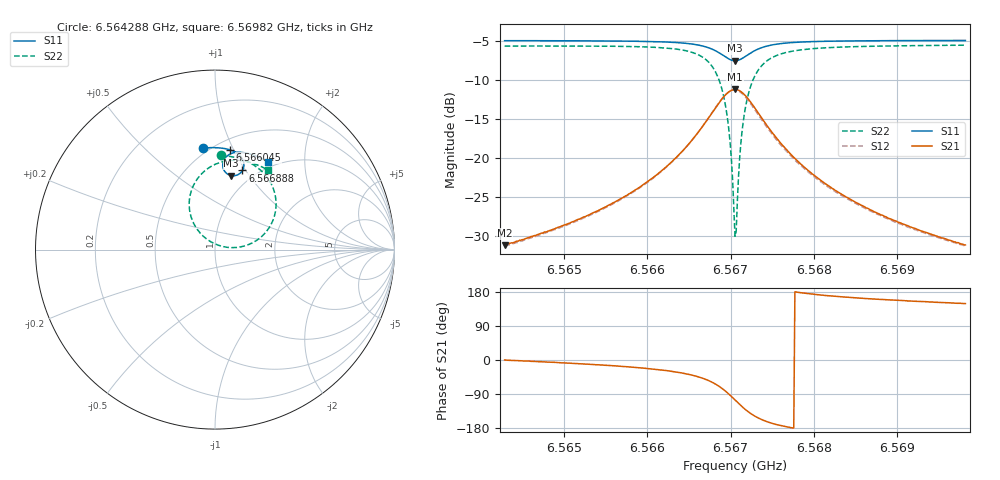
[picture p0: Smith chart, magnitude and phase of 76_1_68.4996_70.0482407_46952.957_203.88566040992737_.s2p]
#  HZ  S  RI  R  50.00
! Rohde & Schwarz Vector Network Analyzer
! Rohde-Schwarz,ZNB20-2Port,1311601062101988,3.16
! Created: UTC 3/20/2024, 5:07:06 PM
! freq[Hz]  re:S11  im:S11  re:S21  im:S21  re:S12  im:S12  re:S22  im:S22
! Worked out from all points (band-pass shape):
!   401 points, 6.564288 GHz to 6.56982 GHz, reference 50 ohm
!   highest |S21| = -11.18 dB at 6.567054 GHz (marker M1); lowest = -31.3 dB at 6.564288 GHz (marker M2)
!   |S21| within 3 dB of the highest: 6.566779 GHz to 6.567331 GHz (551.7 kHz wide, 0.0084 % of centre)
!   lowest |S11| = -7.5 dB at 6.567054 GHz (marker M3), VSWR 2.46, Z = 41.1 + j41.3 ohm
!   |S11| at or under -10 dB: nowhere
!   |S22| runs from -30.1 to -5.5 dB; largest |S21 - S12| = 0.013
!   S11 on the Smith chart (normalised r, x): 6.564288 GHz: 0.46, +0.77; 6.566045 GHz: 0.60, +0.97; 6.566888 GHz: 0.86, +0.97; 6.56982 GHz: 0.92, +1.33
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6.5642884e9  -0.0682 0.5649  0.0274 4.92e-05  0.027 -0.000478  0.0313 0.5245
6.5652149e9  0.00759 0.5679  0.0404 -0.00712  0.0397 -0.00775  0.1181 0.5119
6.5660446e9  0.084 0.5556  0.0669 -0.0288  0.0659 -0.0296  0.2233 0.4665
6.5661413e9  0.0941 0.5521  0.0723 -0.0345  0.0711 -0.0353  0.2393 0.4548
6.5664456e9  0.1287 0.5332  0.0929 -0.0663  0.0914 -0.0676  0.2981 0.3923
6.5666668e9  0.1541 0.5025  0.1067 -0.1194  0.1043 -0.1217  0.3378 0.2896
6.5667913e9  0.1611 0.4719  0.0998 -0.1731  0.0954 -0.1762  0.3311 0.1874
6.5668881e9  0.1526 0.4408  0.0678 -0.2262  0.0605 -0.2291  0.2747 0.0878
6.566971e9  0.1279 0.4175  0.00848 -0.2639  -0.00222 -0.264  0.1662 0.0208
6.5669987e9  0.1159 0.4131  -0.0176 -0.2697  -0.0289 -0.2683  0.1189 0.0118
6.5670402e9  0.0962 0.4116  -0.0595 -0.269  -0.0711 -0.2644  0.0441 0.017
6.567054e9  0.0896 0.4126  -0.0735 -0.266  -0.0847 -0.2603  0.02 0.024
6.5670678e9  0.0832 0.4143  -0.087 -0.2615  -0.0979 -0.2549  -0.00357 0.0332
6.5670817e9  0.077 0.4168  -0.1001 -0.2558  -0.1104 -0.2483  -0.0255 0.0449
6.5671232e9  0.0609 0.428  -0.1341 -0.2321  -0.1421 -0.2223  -0.0817 0.091
6.5671646e9  0.0499 0.4428  -0.1584 -0.2019  -0.1639 -0.191  -0.1194 0.1468
6.56722e9  0.0433 0.4642  -0.1756 -0.1596  -0.1776 -0.1489  -0.142 0.2231
6.5672891e9  0.0454 0.4882  -0.1782 -0.1127  -0.1775 -0.1035  -0.1382 0.3048
6.567538e9  0.0839 0.5323  -0.1349 -0.0249  -0.132 -0.0209  -0.0404 0.4515
6.5679805e9  0.1447 0.5423  -0.0785 0.00846  -0.0767 0.00956  0.0887 0.4972
6.568907e9  0.23 0.5208  -0.0378 0.0149  -0.0372 0.0151  0.2187 0.4786
6.5698197e9  0.297 0.4875  -0.0235 0.0142  -0.023 0.0142  0.2974 0.4413
